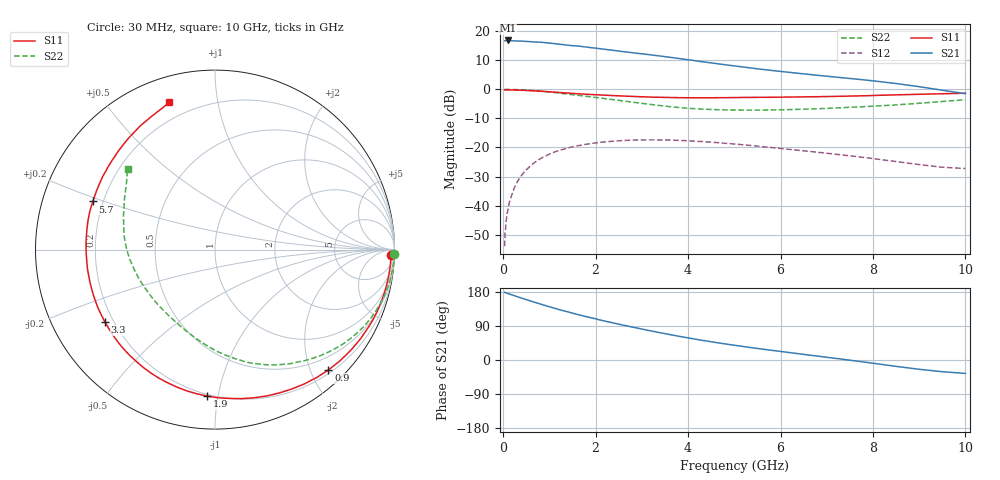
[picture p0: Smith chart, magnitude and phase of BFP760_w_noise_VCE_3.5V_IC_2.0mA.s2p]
! Infineon Technologies  Discrete & RF Semiconductors
! BFP760
! VCE =  3.5 V,  IC =  2.0 mA
! Common Emitter S-Parameters:  Nov 2012
# GHz  S  MA  R  50
!  f  S11  S21  S12  S22
! GHz  MAG  ANG  MAG  ANG  MAG  ANG  MAG  ANG
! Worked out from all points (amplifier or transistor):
!   99 points, 30 MHz to 10 GHz, reference 50 ohm
!   highest |S21| = 16.9 dB at 100 MHz (marker M1)
!   |S21| within 3 dB of that: start of sweep to 2.174 GHz
!   unconditionally stable (mu >= 1): 7.157 GHz to end of sweep
!   at 350 MHz: K = 0.05, MSG = 23.6 dB, |S12| = -30.6 dB
!   at 3.5 GHz: K = 0.32, MSG = 14.3 dB, |S12| = -17.4 dB
!   at 10 GHz: K = 1.68, MAG = 8.1 dB, |S12| = -27.3 dB
!   lowest NFmin = 0.46 dB at 900 MHz
!   S11 on the Smith chart (normalised r, x): 30 MHz: 27, -48; 900 MHz: 0.26, -2.29; 1.9 GHz: 0.19, -0.93; 3.3 GHz: 0.17, -0.29; 5.7 GHz: 0.16, +0.19; 10 GHz: 0.12, +0.73
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0.03  0.9824 -1.8  6.88 178.6  0.002 80.5  1 -1.3
0.04  0.9824 -2.2  6.863 178.3  0.0034 86.7  0.9995 -1.6
0.06  0.9812 -3.2  6.923 177.1  0.0053 84.4  0.9989 -2.1
0.1  0.9806 -5.3  6.964 175.5  0.0085 86.8  0.9983 -3.5
0.2  0.9771 -10.6  6.871 171.4  0.0166 82.6  0.9945 -7.0
0.35  0.9695 -18.4  6.799 165.2  0.0294 77.5  0.9861 -12.2
0.6  0.951 -31.4  6.622 155.3  0.0492 68.6  0.96 -20.7
0.9  0.9216 -46.7  6.396 144.1  0.0707 58.4  0.9176 -30.5
1.3  0.8752 -65.9  5.9 130.1  0.0934 45.8  0.8477 -42.8
1.7  0.8333 -84.4  5.475 117.3  0.1103 34.9  0.7766 -53.8
1.9  0.8174 -93.0  5.236 111.5  0.1171 29.8  0.7434 -59.3
2.5  0.7751 -117.3  4.571 94.6  0.1305 15.5  0.649 -74.7
3  0.7472 -136.1  4.097 81.7  0.135 5.1  0.5756 -87.1
3.3  0.7339 -146.7  3.836 74.3  0.1353 -0.6  0.5381 -94.6
3.4  0.7307 -150.1  3.751 71.8  0.1351 -2.6  0.5266 -97.1
3.8  0.7209 -162.7  3.405 62.6  0.1324 -9.6  0.488 -107.1
4.2  0.7178 -173.6  3.081 54.1  0.1276 -15.9  0.4623 -116.7
5.1  0.7254 167.5  2.48 37.2  0.113 -27.3  0.4418 -135.6
5.7  0.7316 158.5  2.17 27.3  0.1018 -33.0  0.4424 -146.7
6.7  0.7479 145.9  1.782 11.8  0.0845 -38.9  0.4621 -165.3
8.5  0.8058 121.0  1.263 -16.8  0.0573 -41.4  0.5412 160.5
10  0.8595 107.2  0.844 -35.4  0.0434 -25.9  0.6641 137.2
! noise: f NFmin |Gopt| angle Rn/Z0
0.9  0.46  0.62  27  0.22
1.8  0.6  0.52  57  0.18
2.4  0.73  0.48  77  0.16
3.5  0.93  0.42  109  0.14
5.5  1.34  0.44  -164  0.08
8  2.21  0.57  -108  0.43
